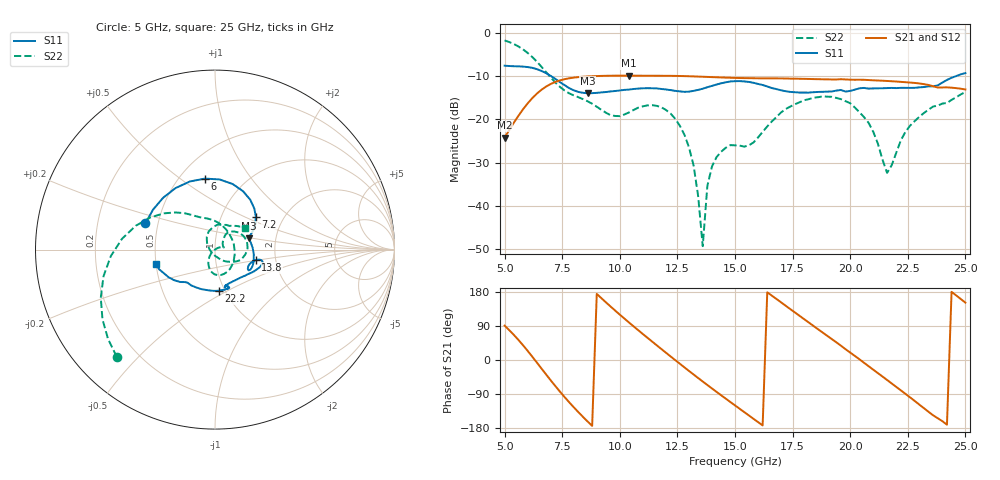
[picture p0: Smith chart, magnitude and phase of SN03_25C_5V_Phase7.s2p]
!File name = SN03_25C_5V_Phase7.s2p
!Date = 2/3/2014
!Time = 2:34 PM
!Test duration(min) = 0.07
!Test = SPars
!MPTS version = 7.120.8
!Comments =
!set_LD1(binary) = 7
!set_LD2(binary) = 524280
!test = SPars
!date_code = 20140203
!file_name = SN03_25C_5V_Phase7.s2p
!VREF(V) = 5.000
!VREF(mA) = 0.003
# GHz  S  DB  R  50
!%	Freq(GHz)  S11(dB)  S11(deg)  S21(dB)  S21(deg)  S12(dB)  S12(deg)  S22(dB)  S22(deg)
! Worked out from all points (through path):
!   101 points, 5 GHz to 25 GHz, reference 50 ohm
!   highest |S21| = -9.95 dB at 10.4 GHz (marker M1); lowest = -24.2 dB at 5 GHz (marker M2)
!   lowest |S11| = -14.0 dB at 8.6 GHz (marker M3), VSWR 1.50, Z = 72.7 + j9.41 ohm
!   |S11| at or under -10 dB: 7.001 GHz to 24.62 GHz (17.62 GHz wide, 111 % of centre)
!   |S22| runs from -49.3 to -1.8 dB; largest |S21 - S12| = 0.00066
!   S11 on the Smith chart (normalised r, x): 5 GHz: 0.43, +0.15; 6 GHz: 0.66, +0.62; 7.2 GHz: 1.45, +0.58; 13.8 GHz: 1.57, -0.19; 22.2 GHz: 0.94, -0.45; 25 GHz: 0.50, -0.09
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5  -7.65 159.2  -24.24 90.7  -24.25 90.6  -1.83 -132.6
6  -7.97 98.0  -16.34 24.1  -16.35 24.1  -4.71 -176.4
7.2  -10.68 38.8  -11.40 -68.6  -11.42 -68.6  -11.51 130.1
8.4  -13.90 19.8  -10.20 -150.0  -10.21 -150.0  -15.35 98.7
8.6  -14.00 18.2  -10.13 -162.1  -10.14 -162.1  -15.85 91.3
10.4  -13.15 -11.3  -9.95 98.9  -9.95 98.9  -18.43 -29.0
11.8  -13.02 -30.6  -9.98 29.2  -9.99 29.2  -17.22 -91.1
13  -13.64 -23.6  -10.08 -28.7  -10.09 -28.7  -26.41 -128.9
13.4  -13.23 -18.0  -10.16 -47.5  -10.17 -47.5  -37.70 -141.6
13.6  -12.96 -16.1  -10.20 -56.8  -10.21 -56.8  -49.25 32.8
13.8  -12.61 -14.3  -10.24 -65.9  -10.25 -65.9  -35.38 31.7
14.2  -11.99 -12.8  -10.32 -84.1  -10.33 -84.1  -28.72 22.3
15  -11.22 -15.0  -10.47 -119.8  -10.47 -119.8  -26.01 13.4
16.6  -12.81 -36.6  -10.57 169.8  -10.58 169.8  -20.50 54.4
18.4  -13.77 -69.1  -10.74 90.2  -10.75 90.2  -15.05 24.9
20  -13.46 -71.3  -10.88 19.6  -10.88 19.5  -16.30 -22.5
20.8  -12.93 -71.5  -10.96 -16.5  -10.96 -16.5  -20.83 -46.8
21.6  -12.81 -74.5  -11.17 -52.7  -11.17 -52.7  -32.36 -128.4
21.8  -12.77 -77.2  -11.23 -61.8  -11.24 -61.9  -30.61 -178.5
22.2  -12.76 -84.6  -11.38 -80.2  -11.38 -80.2  -24.82 140.4
23.6  -12.40 -129.9  -12.39 -146.0  -12.40 -146.0  -17.06 83.6
25  -9.35 -166.4  -13.12 151.4  -13.13 151.5  -13.72 35.6
